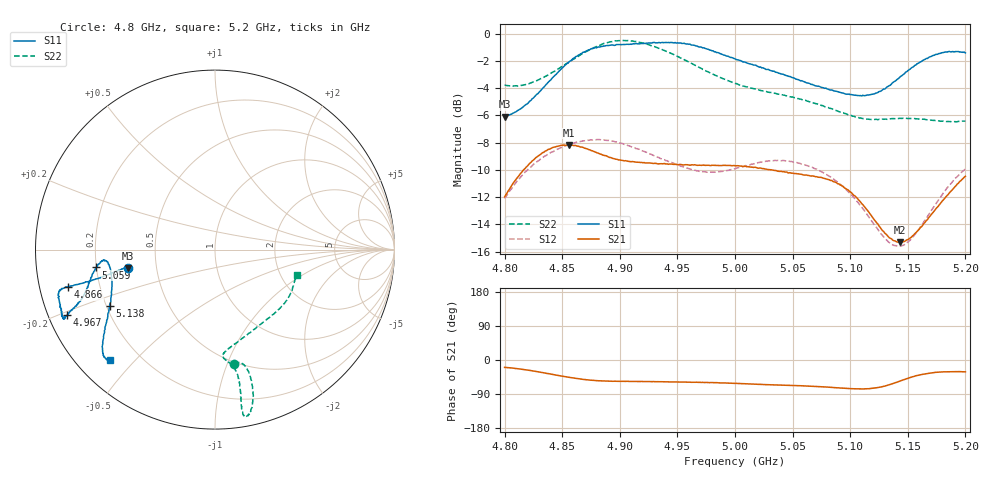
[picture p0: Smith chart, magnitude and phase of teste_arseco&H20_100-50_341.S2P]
! Network Analyzer HP8722D
! Hewlett-Packard
! Data name: Linha & Wilkinson
! Saver's name: Rodrigo Anjos
! Comments: Teste da utilização de aquisição
! continua pelo VNA HP8722D
! Time and date: 6/5/2025 15:24
!  Frequency  S11  S21  S12  S22
# HZ  S  MA R 50
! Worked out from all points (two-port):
!   401 points, 4.8 GHz to 5.2 GHz, reference 50 ohm
!   highest |S21| = -8.17 dB at 4.856 GHz (marker M1); lowest = -15.3 dB at 5.143 GHz (marker M2)
!   |S21| within 3 dB of the highest: 4.806 GHz to 5.093 GHz (286.9 MHz wide, 5.8 % of centre); 5.191775 GHz to end of sweep
!   lowest |S11| = -6.1 dB at 4.8 GHz (marker M3), VSWR 2.97, Z = 17 - j4.6 ohm
!   |S11| at or under -10 dB: nowhere
!   |S22| runs from -6.5 to -0.5 dB; largest |S21 - S12| = 0.62
!   S11 on the Smith chart (normalised r, x): 4.8 GHz: 0.34, -0.09; 4.866 GHz: 0.09, -0.12; 4.967 GHz: 0.05, -0.21; 5.059 GHz: 0.20, -0.07; 5.138 GHz: 0.21, -0.24; 5.2 GHz: 0.10, -0.43
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4.8e9  0.4962 -168.1  0.2515 -19.5  0.2483 -140.7  0.6479 -80.5
4.828e9  0.5999 -167.0  0.3529 -30.4  0.3387 -144.7  0.6728 -75.4
4.856e9  0.7891 -165.7  0.3905 -45.7  0.3921 -150.1  0.7885 -74.7
4.866e9  0.8445 -165.8  0.3835 -50.2  0.4021 -151.7  0.8376 -75.3
4.867e9  0.8472 -165.8  0.3838 -50.8  0.403 -151.9  0.8432 -75.3
4.883e9  0.8962 -165.0  0.3615 -54.9  0.4084 -154.6  0.9085 -77.1
4.901e9  0.9119 -162.4  0.3433 -56.2  0.3963 -156.7  0.9447 -79.2
4.934e9  0.9297 -156.4  0.3329 -57.4  0.3511 -155.6  0.8838 -80.5
4.967e9  0.901 -156.1  0.3287 -58.7  0.3134 -147.9  0.7586 -79.6
5e9  0.8096 -159.0  0.3276 -61.8  0.3194 -137.1  0.6572 -81.3
5.032e9  0.7315 -164.6  0.3163 -65.5  0.3421 -134.1  0.6083 -85.4
5.059e9  0.6694 -171.4  0.3033 -68.2  0.3314 -136.0  0.5712 -84.4
5.067e9  0.6517 -173.0  0.3006 -69.0  0.3232 -136.6  0.5592 -82.7
5.084e9  0.6214 -174.6  0.2892 -72.3  0.2955 -138.3  0.5304 -76.3
5.102e9  0.5962 -171.8  0.258 -75.9  0.2538 -138.6  0.4977 -66.0
5.116e9  0.5959 -165.5  0.2217 -75.8  0.2129 -135.5  0.4857 -55.8
5.134e9  0.6449 -154.2  0.1779 -65.3  0.1709 -120.8  0.487 -43.3
5.138e9  0.6665 -151.7  0.1736 -61.1  0.1668 -115.7  0.4877 -40.9
5.143e9  0.6917 -149.3  0.1712 -55.9  0.1659 -109.1  0.4892 -38.1
5.154e9  0.7536 -144.4  0.1807 -44.3  0.1789 -95.1  0.4879 -32.2
5.173e9  0.8341 -138.7  0.2235 -33.2  0.2325 -80.8  0.4808 -24.3
5.2e9  0.8505 -133.5  0.2994 -31.3  0.3187 -76.8  0.4774 -17.5
